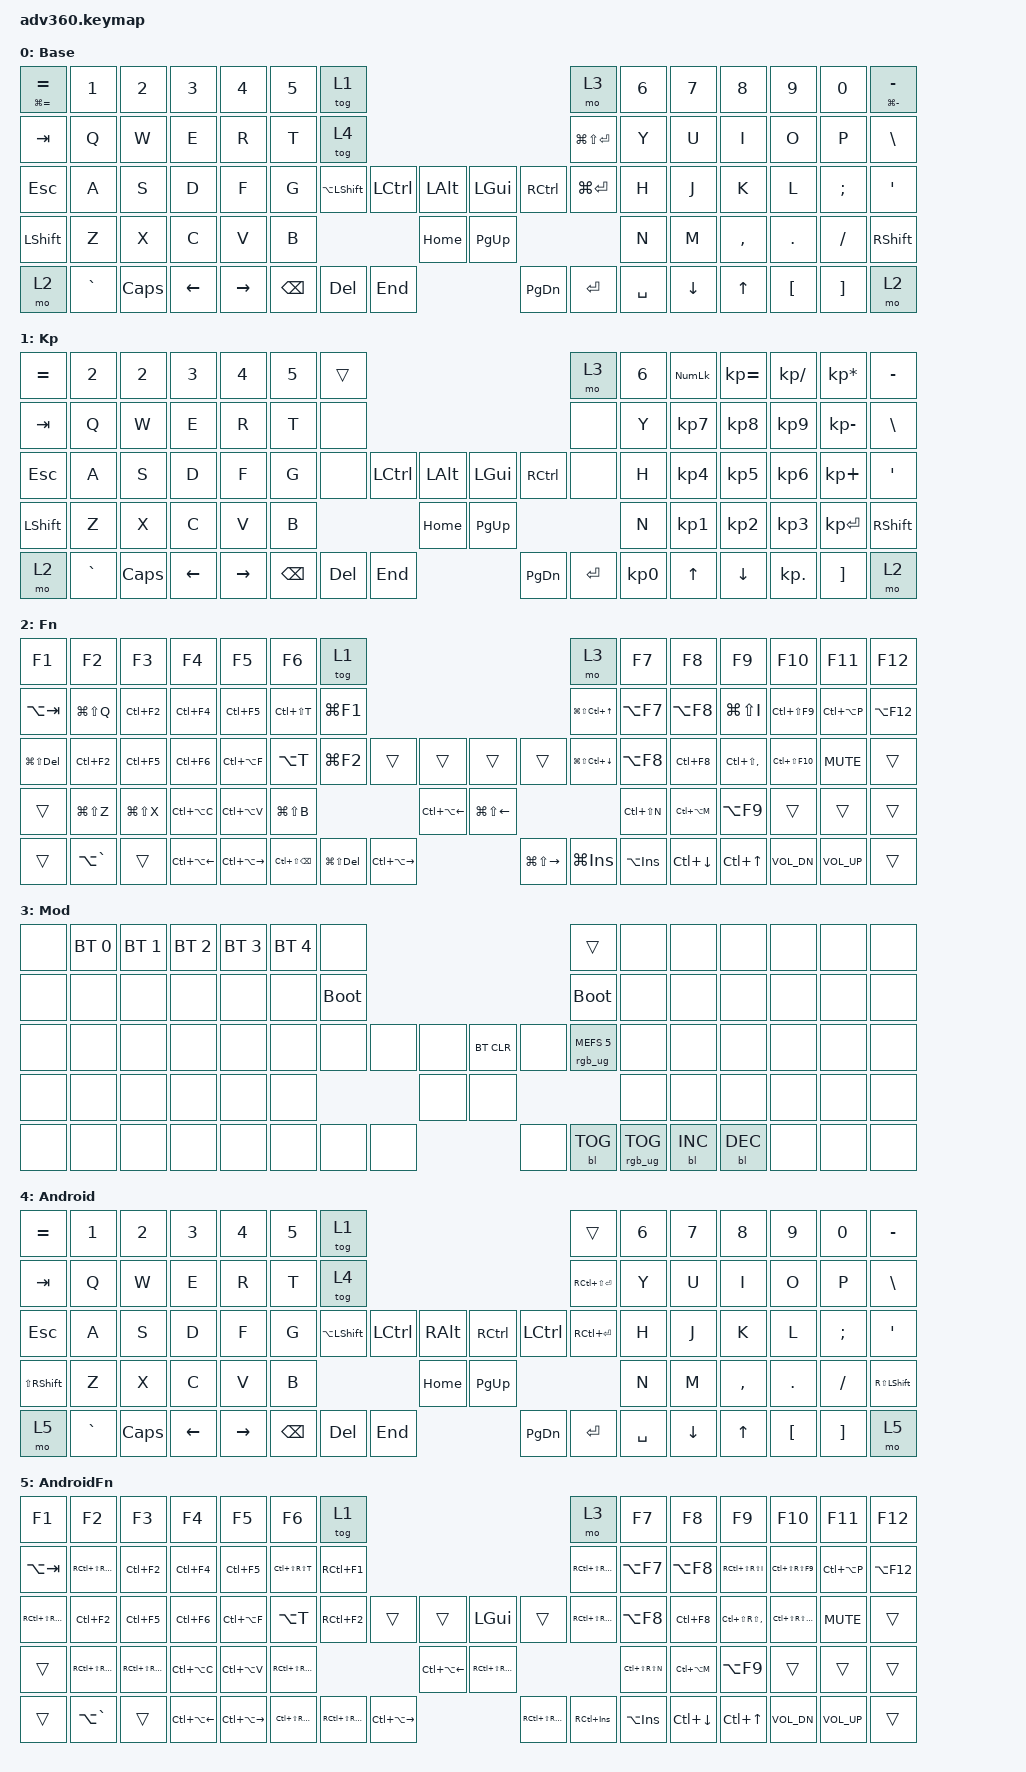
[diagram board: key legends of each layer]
#include <behaviors.dtsi>
#include <dt-bindings/zmk/keys.h>
#include <dt-bindings/zmk/bt.h>
#include <dt-bindings/zmk/rgb.h>
#include <dt-bindings/zmk/stp.h>
#include <dt-bindings/zmk/backlight.h>
#include <dt-bindings/zmk/pointing.h>

/ {
    behaviors {
      #include "macros.dtsi"
      #include "version.dtsi"

      hm: homerow_mods {
          compatible = "zmk,behavior-hold-tap";
          label = "HOMEROW_MODS";
          #binding-cells = <2>;
          tapping-term-ms = <200>;
          quick_tap_ms = <175>;
          flavor = "tap-preferred";
          bindings = <&kp>, <&kp>;
      };
    };

  keymap {
    compatible = "zmk,keymap";

    default_layer {
      display-name = "Base";
      bindings = <
        &mt LG(EQUAL) EQUAL &kp N1    &kp N2   &kp N3   &kp N4     &kp N5 &tog 1                                                                  &mo 3             &kp N6 &kp N7   &kp N8    &kp N9   &kp N0   &mt LG(MINUS) MINUS
        &kp TAB             &kp Q     &kp W    &kp E    &kp R      &kp T  &tog 4                                                                  &kp LG(LS(ENTER)) &kp Y  &kp U    &kp I     &kp O    &kp P    &kp BSLH
        &kp ESC             &kp A     &kp S    &kp D    &kp F      &kp G  &kp LA(LSHFT)          &kp LCTRL &kp LALT &kp LGUI  &kp RCTRL           &kp LG(ENTER)     &kp H  &kp J    &kp K     &kp L    &kp SEMI &kp SQT
        &kp LSHFT           &kp Z     &kp X    &kp C    &kp V      &kp B                                   &kp HOME &kp PG_UP                                       &kp N  &kp M    &kp COMMA &kp DOT  &kp FSLH &kp RSHFT
        &mo 2               &kp GRAVE &kp CAPS &kp LEFT &kp RIGHT                       &kp BSPC &kp DEL   &kp END  &kp PG_DN &kp ENTER &kp SPACE                          &kp DOWN &kp UP    &kp LBKT &kp RBKT &mo 2
      >;
    };
    keypad {
      display-name = "Kp";
      bindings = <
        &kp EQUAL &kp N2    &kp N2   &kp N3   &kp N4     &kp N5 &trans                                                           &mo 3 &kp N6 &kp KP_NUM &kp KP_EQUAL &kp KP_DIVIDE &kp KP_MULTIPLY &kp MINUS
        &kp TAB   &kp Q     &kp W    &kp E    &kp R      &kp T  &none                                                            &none &kp Y  &kp KP_N7  &kp KP_N8    &kp KP_N9     &kp KP_MINUS    &kp BSLH
        &kp ESC   &kp A     &kp S    &kp D    &kp F      &kp G  &none           &kp LCTRL &kp LALT &kp LGUI  &kp RCTRL           &none &kp H  &kp KP_N4  &kp KP_N5    &kp KP_N6     &kp KP_PLUS     &kp SQT
        &kp LSHFT &kp Z     &kp X    &kp C    &kp V      &kp B                            &kp HOME &kp PG_UP                           &kp N  &kp KP_N1  &kp KP_N2    &kp KP_N3     &kp KP_ENTER    &kp RSHFT
        &mo 2     &kp GRAVE &kp CAPS &kp LEFT &kp RIGHT                &kp BSPC &kp DEL   &kp END  &kp PG_DN &kp ENTER &kp KP_N0              &kp UP     &kp DOWN     &kp KP_DOT    &kp RBKT        &mo 2
      >;
    };
    fn {
      display-name = "Fn";
      bindings = <
        &kp F1          &kp F2        &kp F3        &kp F4           &kp F5            &kp F6        &tog 1                                                                                          &mo 3                &kp F7         &kp F8        &kp F9            &kp F10          &kp F11       &kp F12
        &kp LA(TAB)     &kp LG(LS(Q)) &kp LC(F2)    &kp LC(F4)       &kp LC(F5)        &kp LC(LS(T)) &kp LG(F1)                                                                                      &kp LG(LS(LC(UP)))   &kp LA(F7)     &kp LA(F8)    &kp LG(LS(I))     &kp LC(LS(F9))   &kp LC(LA(P)) &kp LA(F12)
        &kp LG(LS(DEL)) &kp LC(F2)    &kp LC(F5)    &kp LC(F6)       &kp LC(LA(F))     &kp LA(T)     &kp LG(F2)                               &trans &trans            &trans            &trans      &kp LG(LS(LC(DOWN))) &kp LA(F8)     &kp LC(F8)    &kp LC(LS(COMMA)) &kp LC(LS(F10))  &kp C_MUTE    &trans
        &trans          &kp LG(LS(Z)) &kp LG(LS(X)) &kp LC(LA(C))    &kp LC(LA(V))     &kp LG(LS(B))                                                 &kp LC(LA(LEFT))  &kp LG(LS(LEFT))                                   &kp LC(LS(N))  &kp LC(LA(M)) &kp LA(F9)        &trans           &trans        &trans
        &trans          &kp LA(GRAVE) &trans        &kp LC(LA(LEFT)) &kp LC(LA(RIGHT))                              &kp LC(LS(BSPC)) &kp LG(LS(DEL)) &kp LC(LA(RIGHT)) &kp LG(LS(RIGHT)) &kp LG(INS) &kp LA(INS)                         &kp LC(DOWN)  &kp LC(UP)        &kp C_VOL_DN     &kp C_VOL_UP  &trans
      >;
    };
    mod {
      display-name = "Mod";
      bindings = <
        &none &bt BT_SEL 0 &bt BT_SEL 1 &bt BT_SEL 2 &bt BT_SEL 3 &bt BT_SEL 4 &none                                                                     &trans                 &none        &none        &none        &none &none &none
        &none &none        &none        &none        &none        &none        &bootloader                                                               &bootloader            &none        &none        &none        &none &none &none
        &none &none        &none        &none        &none        &none        &none                   &none &none &bt BT_CLR &none                      &rgb_ug RGB_MEFS_CMD 5 &none        &none        &none        &none &none &none
        &none &none        &none        &none        &none        &none                                      &none &none                                                        &none        &none        &none        &none &none &none
        &none &none        &none        &none        &none                                       &none &none &none &none      &bl BL_TOG &rgb_ug RGB_TOG                                     &bl BL_INC   &bl BL_DEC   &none &none &none
      >;
    };
    android_layer {
      display-name = "Android";
      bindings = <
        &kp EQUAL      &kp N1    &kp N2   &kp N3   &kp N4     &kp N5 &tog 1                                                                  &trans            &kp N6 &kp N7   &kp N8    &kp N9   &kp N0   &kp MINUS
        &kp TAB        &kp Q     &kp W    &kp E    &kp R      &kp T  &tog 4                                                                  &kp RC(LS(ENTER)) &kp Y  &kp U    &kp I     &kp O    &kp P    &kp BSLH
        &kp ESC        &kp A     &kp S    &kp D    &kp F      &kp G  &kp LA(LSHFT)          &kp LCTRL &kp RALT &kp RCTRL &kp LCTRL           &kp RC(ENTER)     &kp H  &kp J    &kp K     &kp L    &kp SEMI &kp SQT
        &kp LS(RSHFT)  &kp Z     &kp X    &kp C    &kp V      &kp B                                   &kp HOME &kp PG_UP                                       &kp N  &kp M    &kp COMMA &kp DOT  &kp FSLH &kp RS(LSHFT)
        &mo 5          &kp GRAVE &kp CAPS &kp LEFT &kp RIGHT                       &kp BSPC &kp DEL   &kp END  &kp PG_DN &kp ENTER &kp SPACE                          &kp DOWN &kp UP    &kp LBKT &kp RBKT &mo 5
      >;
    };
    android_fn {
      display-name = "AndroidFn";
      bindings = <
        &kp F1              &kp F2            &kp F3            &kp F4           &kp F5            &kp F6            &tog 1                                                                                                  &mo 3                    &kp F7             &kp F8        &kp F9                &kp F10              &kp F11       &kp F12
        &kp LA(TAB)         &kp RC(LS(RS(Q))) &kp LC(F2)        &kp LC(F4)       &kp LC(F5)        &kp LC(LS(RS(T))) &kp RC(F1)                                                                                              &kp RC(LS(RS(LC(UP))))   &kp LA(F7)         &kp LA(F8)    &kp RC(LS(RS(I)))     &kp LC(LS(RS(F9)))   &kp LC(LA(P)) &kp LA(F12)
        &kp RC(LS(RS(DEL))) &kp LC(F2)        &kp LC(F5)        &kp LC(F6)       &kp LC(LA(F))     &kp LA(T)         &kp RC(F2)                                   &trans &trans            &kp LGUI              &trans      &kp RC(LS(RS(LC(DOWN)))) &kp LA(F8)         &kp LC(F8)    &kp LC(LS(RS(COMMA))) &kp LC(LS(RS(F10)))  &kp C_MUTE    &trans
        &trans              &kp RC(LS(RS(Z))) &kp RC(LS(RS(X))) &kp LC(LA(C))    &kp LC(LA(V))     &kp RC(LS(RS(B)))                                                     &kp LC(LA(LEFT))  &kp RC(LS(RS(LEFT)))                                       &kp LC(LS(RS(N)))  &kp LC(LA(M)) &kp LA(F9)            &trans               &trans        &trans
        &trans              &kp LA(GRAVE)     &trans            &kp LC(LA(LEFT)) &kp LC(LA(RIGHT))                              &kp LC(LS(RS(BSPC))) &kp RC(LS(RS(DEL))) &kp LC(LA(RIGHT)) &kp RC(LS(RS(RIGHT))) &kp RC(INS) &kp LA(INS)                                 &kp LC(DOWN)  &kp LC(UP)            &kp C_VOL_DN         &kp C_VOL_UP  &trans
      >;
    };
    extra1 { 
      display-name = "Red";    
      status = "reserved";
    };

    extra2 { 
      display-name = "Purple";    
      status = "reserved";
    };

    extra3 { 
      display-name = "Cyan";    
      status = "reserved";
    };

    extra4 { 
      display-name = "Yellow";    
      status = "reserved";
    };
  };
};
